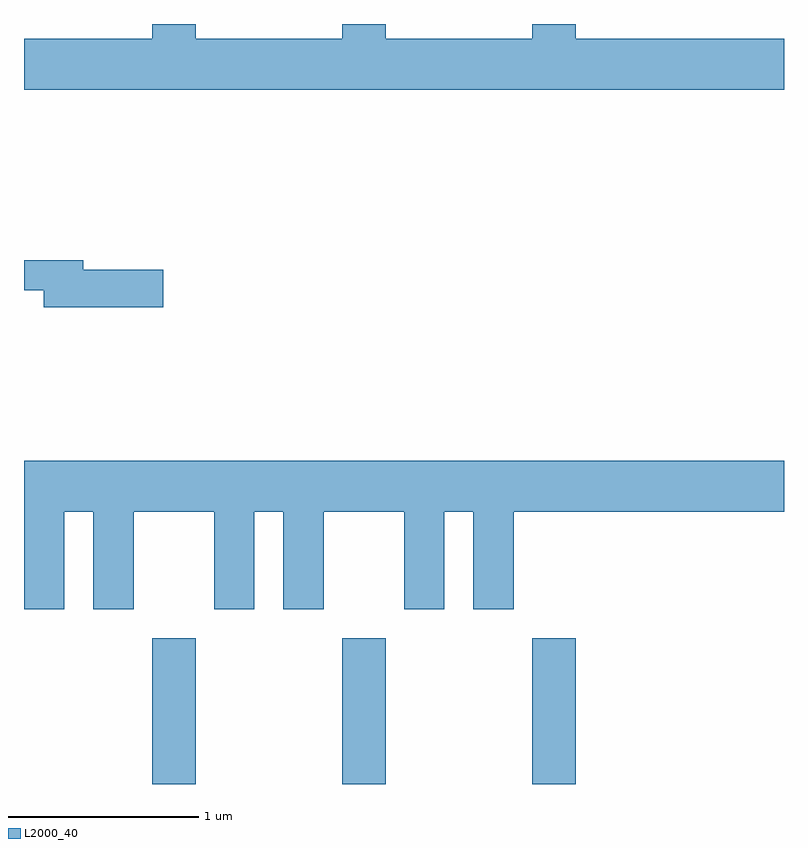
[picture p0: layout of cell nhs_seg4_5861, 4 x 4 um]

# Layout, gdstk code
import gdstk
lib = gdstk.Library(unit=1e-6, precision=1e-09)
def R(c, l, rs):  # rectangles x0, y0, x1, y1
    for r in rs: c.add(gdstk.rectangle(r[:2], r[2:], *l))
def A(c, l, x, y, w, h, nx, ny, dx, dy):  # array of equal rectangles
    R(c, l, [(x+i*dx, y+j*dy, x+i*dx+w, y+j*dy+h) for i in range(nx) for j in range(ny)])
def P(c, l, *ps):  # polygons
    for p in ps: c.add(gdstk.Polygon(p, *l))
L2000_40 = (2000, 40)

nhs_seg4_5861 = lib.new_cell('nhs_seg4_5861')
A(nhs_seg4_5861, L2000_40, 358.286, 1279.982, 0.228, 0.767, 3, 1, 1, 0)
P(nhs_seg4_5861, L2000_40, [(361.611,1283.904),(360.514,1283.904),(360.514,1283.982),(360.286,1283.982),(360.286,1283.904),(359.514,1283.904),(359.514,1283.982),(359.286,1283.982),(359.286,1283.904),(358.514,1283.904),(358.514,1283.982),(358.286,1283.982),(358.286,1283.904),(357.611,1283.904),(357.611,1283.636),(361.611,1283.636)],
  [(358.344,1282.689),(357.924,1282.689),(357.924,1282.739),(357.611,1282.739),(357.611,1282.581),(357.716,1282.581),(357.716,1282.491),(358.344,1282.491)],
  [(357.824,1281.416),(357.976,1281.416),(357.976,1280.901),(358.189,1280.901),(358.189,1281.416),(358.611,1281.416),(358.611,1280.901),(358.824,1280.901),(358.824,1281.416),(358.976,1281.416),(358.976,1280.901),(359.189,1280.901),(359.189,1281.416),(359.611,1281.416),(359.611,1280.901),(359.824,1280.901),(359.824,1281.416),(359.976,1281.416),(359.976,1280.901),(360.189,1280.901),(360.189,1281.416),(361.611,1281.416),(361.611,1281.684),(357.611,1281.684),(357.611,1280.901),(357.824,1280.901)])

lib.write_gds('nhs_seg4_5861.gds')
